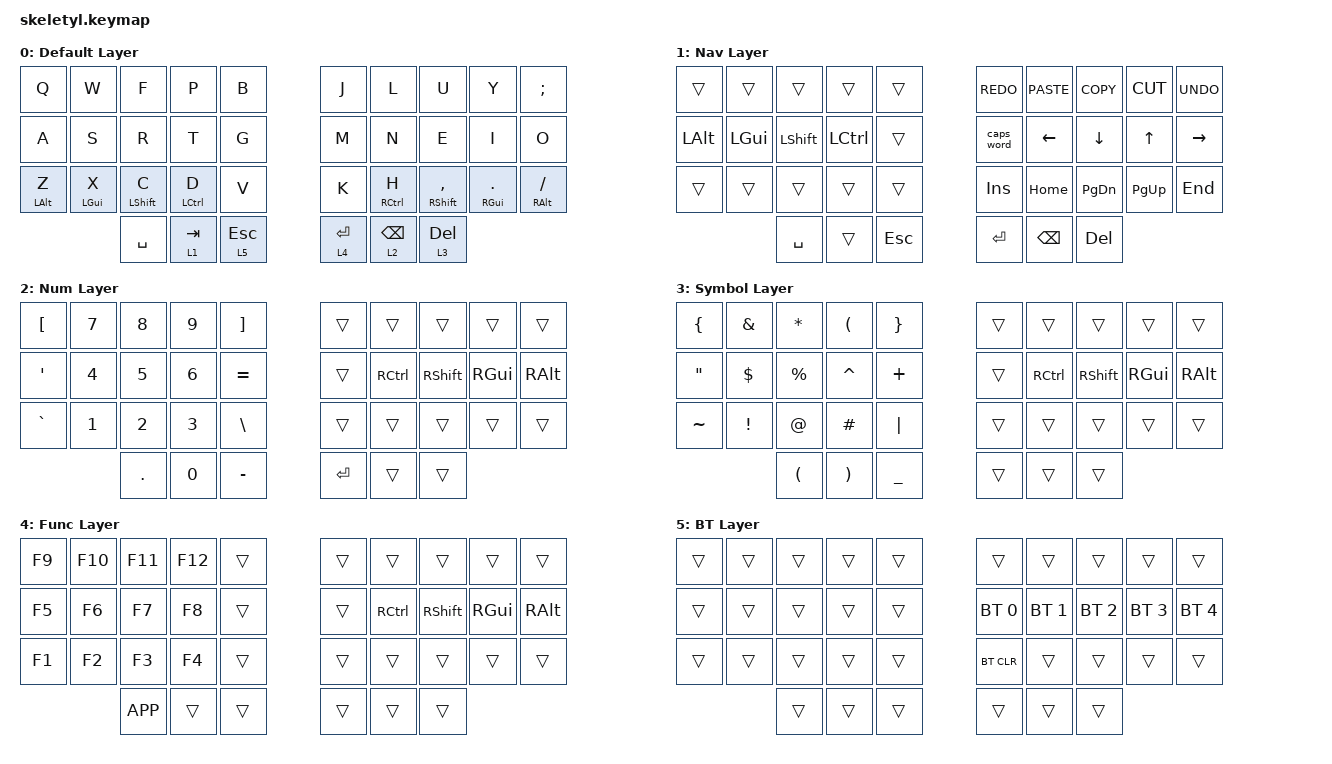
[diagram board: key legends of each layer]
/*
 * Copyright (c) 2020 The ZMK Contributors
 *
 * SPDX-License-Identifier: MIT
 */

#include <behaviors.dtsi>
#include <dt-bindings/zmk/keys.h>
#include <dt-bindings/zmk/bt.h>

/ {
    behaviors {
        hml: home_row_mod_left {
            compatible = "zmk,behavior-hold-tap";
            #binding-cells = <2>;
            flavor = "balanced";
            require-prior-idle-ms = <150>;
            tapping-term-ms = <200>;
            quick-tap-ms = <175>;
            bindings = <&kp>, <&kp>;
            hold-trigger-key-positions = < 5 6 7 8 9 15 16 17 18 19 25 26 27 28 29 33 34 35 >; // List of keys on the right side of the keyboard
            hold-trigger-on-release;
        };
        hmr: home_row_mod_right {
            compatible = "zmk,behavior-hold-tap";
            #binding-cells = <2>;
            flavor = "balanced";
            require-prior-idle-ms = <150>;
            tapping-term-ms = <200>;
            quick-tap-ms = <175>;
            bindings = <&kp>, <&kp>;
            hold-trigger-key-positions = < 0 1 2 3 4 10 11 12 13 14 20 21 22 23 24 30 31 32 >; // List of keys on the left side of the keyboard
            hold-trigger-on-release;
        };
    };
        keymap {
                compatible = "zmk,keymap";

                default_layer {
                        display-name = "Default Layer";
                        bindings = <
   &kp Q        &kp W        &kp F        &kp P         &kp B            &kp J    &kp L        &kp U            &kp Y         &kp SEMI
   &kp A        &kp S        &kp R        &kp T         &kp G            &kp M    &kp N        &kp E            &kp I         &kp O
   &hml LALT Z  &hml LGUI X  &hml LSHFT C &hml LCTRL D  &kp V            &kp K    &hmr RCTRL H &hmr RSHFT COMMA &hmr RGUI DOT &hmr RALT FSLH
                             &kp SPACE    &lt 1 TAB     &lt 5 ESC          &lt 4 RET  &lt 2 BSPC   &lt 3 DEL
                        >;
                };
				
                layer_1 {
                        display-name = "Nav Layer";
                        bindings = <
    &trans       &trans       &trans       &trans       &trans         &kp K_REDO  &kp K_PASTE   &kp K_COPY   &kp K_CUT  &kp K_UNDO
    &kp LALT     &kp LGUI     &kp LSHFT    &kp LCTRL    &trans         &caps_word  &kp LEFT      &kp DOWN     &kp UP     &kp RIGHT
    &trans       &trans       &trans       &trans       &trans         &kp INSERT  &kp HOME      &kp PG_DN    &kp PG_UP  &kp END
                              &kp SPACE    &trans       &kp ESC        &kp RET     &kp BSPC      &kp DEL
                        >;
                };

                layer_2 {
                        display-name = "Num Layer";
                        bindings = <
   &kp LBKT   &kp N7   &kp N8   &kp N9   &kp RBKT    &trans   &trans     &trans    &trans   &trans
   &kp SQT   &kp N4   &kp N5   &kp N6   &kp EQUAL   &trans   &kp RCTRL  &kp RSHFT &kp RGUI &kp RALT
   &kp GRAVE  &kp N1   &kp N2   &kp N3   &kp BSLH    &trans   &trans     &trans    &trans   &trans 
                       &kp DOT  &kp N0   &kp MINUS   &kp RET  &trans     &trans
                        >;
                };

				layer_3 {
					display-name = "Symbol Layer";
					bindings = <
   &kp LBRC  &kp AMPS  &kp ASTRK  &kp LPAR  &kp RBRC   &trans  &trans    &trans    &trans   &trans  
   &kp DQT   &kp DLLR  &kp PRCNT  &kp CARET &kp PLUS   &trans  &kp RCTRL &kp RSHFT &kp RGUI &kp RALT
   &kp TILDE &kp EXCL  &kp AT     &kp HASH  &kp PIPE   &trans  &trans    &trans    &trans   &trans
                &kp LPAR   &kp RPAR  &kp UNDER   &trans  &trans    &trans
					>;
				};

				layer_4 {
					display-name = "Func Layer";
					bindings = <
	&kp F9  &kp F10  &kp F11  &kp F12  &trans    &trans  &trans     &trans     &trans    &trans
	&kp F5  &kp F6   &kp F7   &kp F8   &trans    &trans  &kp RCTRL  &kp RSHFT  &kp RGUI  &kp RALT
	&kp F1  &kp F2   &kp F3   &kp F4   &trans    &trans  &trans     &trans     &trans    &trans
	                 &kp K_APP  &trans &trans    &trans  &trans  &trans
					>;
				};

				layer_5 {
					display-name = "BT Layer";
					bindings = <
	&trans  &trans  &trans  &trans  &trans    &trans        &trans       &trans        &trans        &trans
	&trans  &trans  &trans  &trans  &trans    &bt BT_SEL 0  &bt BT_SEL 1 &bt BT_SEL 2  &bt BT_SEL 3  &bt BT_SEL 4
	&trans  &trans  &trans  &trans  &trans    &bt BT_CLR    &trans       &trans        &trans        &trans
	                 &trans  &trans &trans    &trans  &trans  &trans
							>;
				};
        };
};
